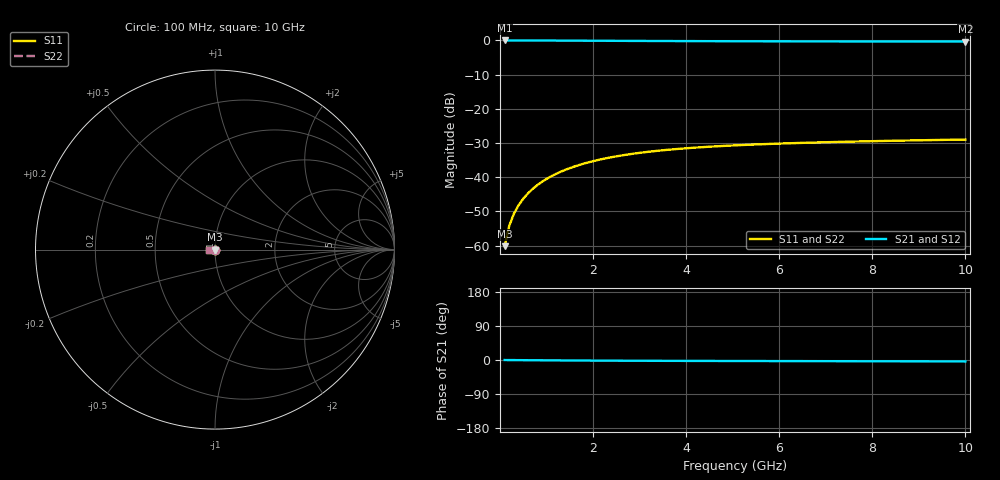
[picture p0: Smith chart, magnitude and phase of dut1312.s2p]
! Touchstone file exported from HFSS 2024.1.0
!  File:  C:/UserFiles/LocalFiles/RDL_TSV_Batchsim/temp_TSV1_1312_1780373602.aedt
!  Generated:  12:17:57 PM Jun  2, 2026
!  Design:  TSV1
!  Project:  temp_TSV1_1312_1780373602
!  Setup:  Setup1
!  Solution:  Sweep
! Variables:
!  dtsv = 11.34um
!  hbump = 3um
!  htsv = 56.03um
!  lrdl = 252.1521522um
!  p = 40
!  p1 = 48.6um
!  t = 500um
!  trdl = 3um
!  wrdl = 24.89489489um
# GHz S MA R 50.000000
! Terminal data exported
! Port[1] = TSV22_T1
! Port[2] = TSV22_T2
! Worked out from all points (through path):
!   100 points, 100 MHz to 10 GHz, reference 50 ohm
!   highest |S21| = 0.00 dB at 100 MHz (marker M1); lowest = -0.3 dB at 10 GHz (marker M2)
!   lowest |S11| = -60.1 dB at 100 MHz (marker M3), VSWR 1.00, Z = 50 - j0.0982 ohm
!   |S11| at or under -10 dB: start of sweep to end of sweep
!   |S22| runs from -60.1 to -29.0 dB; largest |S21 - S12| = 3.4e-15
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0.1  0.0009839 -86.4  0.9999 -0.1  0.9999 -0.1  0.0009839 -86.4
! Gamma 0 0 0 0
! Port Impedance 50 0 50 0
0.2  0.001959 -90.8  0.9998 -0.2  0.9998 -0.2  0.001959 -90.8
0.3  0.002932 -93.5  0.9996 -0.3  0.9996 -0.3  0.002932 -93.5
0.4  0.003898 -95.6  0.9994 -0.4  0.9994 -0.4  0.003898 -95.6
0.5  0.004856 -97.6  0.9991 -0.5  0.9991 -0.5  0.004856 -97.6
0.6  0.005803 -99.5  0.9988 -0.6  0.9988 -0.6  0.005803 -99.5
0.7  0.006738 -101.4  0.9984 -0.6  0.9984 -0.6  0.006738 -101.4
0.8  0.007659 -103.1  0.998 -0.7  0.998 -0.7  0.007659 -103.1
0.9  0.008565 -104.9  0.9975 -0.8  0.9975 -0.8  0.008565 -104.9
1.1  0.01032 -108.2  0.9964 -1.0  0.9964 -1.0  0.01032 -108.2
1.4  0.01281 -113.0  0.9946 -1.2  0.9946 -1.2  0.01281 -113.0
1.6  0.01436 -116.1  0.9933 -1.3  0.9933 -1.3  0.01436 -116.1
1.8  0.01583 -119.0  0.9919 -1.4  0.9919 -1.4  0.01583 -119.0
2.1  0.01785 -123.1  0.9899 -1.6  0.9899 -1.6  0.01785 -123.1
2.5  0.02023 -128.2  0.9872 -1.8  0.9872 -1.8  0.02023 -128.2
2.9  0.02228 -132.8  0.9846 -2.0  0.9846 -2.0  0.02228 -132.8
3.4  0.02444 -138.0  0.9816 -2.2  0.9816 -2.2  0.02444 -138.0
4.2  0.02714 -145.0  0.9775 -2.4  0.9775 -2.4  0.02714 -145.0
5.1  0.02938 -151.5  0.9737 -2.6  0.9737 -2.6  0.02938 -151.5
6.7  0.03212 -160.7  0.969 -3.0  0.969 -3.0  0.03213 -160.7
8.4  0.03413 -168.4  0.9656 -3.4  0.9656 -3.4  0.03413 -168.4
10  0.03561 -174.6  0.9634 -3.8  0.9634 -3.8  0.03562 -174.6
